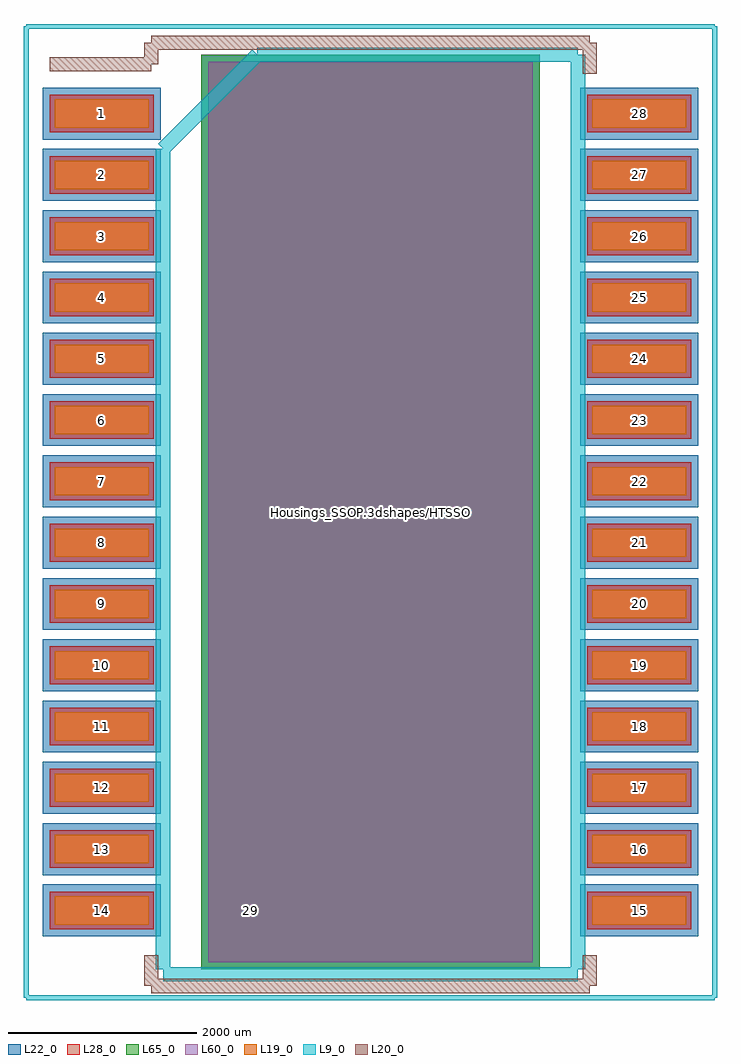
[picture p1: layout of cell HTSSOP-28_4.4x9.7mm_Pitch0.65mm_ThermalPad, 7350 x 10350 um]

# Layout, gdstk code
import gdstk
lib = gdstk.Library(unit=1e-6, precision=1e-09)
def R(c, l, rs):  # rectangles x0, y0, x1, y1
    for r in rs: c.add(gdstk.rectangle(r[:2], r[2:], *l))
def A(c, l, x, y, w, h, nx, ny, dx, dy):  # array of equal rectangles
    R(c, l, [(x+i*dx, y+j*dy, x+i*dx+w, y+j*dy+h) for i in range(nx) for j in range(ny)])
L9_0 = (9, 0)
L19_0 = (19, 0)
L20_0 = (20, 0)
L22_0 = (22, 0)
L28_0 = (28, 0)
L60_0 = (60, 0)
L65_0 = (65, 0)

htssop_28_4_4x9_7mm_pitc = lib.new_cell('HTSSOP-28_4.4x9.7mm_Pitch0.65mm_ThermalPad')
A(htssop_28_4_4x9_7mm_pitc, L19_0, -3350, -4375, 1000, 300, 1, 14, 0, 650)
A(htssop_28_4_4x9_7mm_pitc, L19_0, 2350, -4375, 1000, 300, 1, 14, 0, 650)
A(htssop_28_4_4x9_7mm_pitc, L22_0, -1795, -4850, 1040, 1250, 4, 9, 850, 1056.25)
A(htssop_28_4_4x9_7mm_pitc, L22_0, -3475, -4500, 1250, 550, 1, 14, 0, 650)
A(htssop_28_4_4x9_7mm_pitc, L22_0, 2225, -4500, 1250, 550, 1, 14, 0, 650)
A(htssop_28_4_4x9_7mm_pitc, L28_0, -1720, -4775, 890, 1100, 4, 9, 850, 1056.25)
A(htssop_28_4_4x9_7mm_pitc, L28_0, -3400, -4425, 1100, 400, 1, 14, 0, 650)
A(htssop_28_4_4x9_7mm_pitc, L28_0, 2300, -4425, 1100, 400, 1, 14, 0, 650)
A(htssop_28_4_4x9_7mm_pitc, L60_0, -1720, -4775, 890, 1100, 4, 9, 850, 1056.25)
A(htssop_28_4_4x9_7mm_pitc, L65_0, -1795, -4850, 1040, 1250, 4, 9, 850, 1056.25)
htssop_28_4_4x9_7mm_pitc.add(gdstk.FlexPath([(-2325,4750),(-3400,4750)], 149.998, ends="flush", simple_path=True, layer=20, datatype=0))  # L20_0
htssop_28_4_4x9_7mm_pitc.add(gdstk.FlexPath([(-2325,-5025.8),(2325,-5025.8)], 149.998, ends="flush", simple_path=True, layer=20, datatype=0))  # L20_0
htssop_28_4_4x9_7mm_pitc.add(gdstk.FlexPath([(-2325,4975),(2325,4975)], 149.998, ends="flush", simple_path=True, layer=20, datatype=0))  # L20_0
htssop_28_4_4x9_7mm_pitc.add(gdstk.FlexPath([(-2325,-5025.8),(-2325,-4700.8)], 149.998, ends="flush", simple_path=True, layer=20, datatype=0))  # L20_0
htssop_28_4_4x9_7mm_pitc.add(gdstk.FlexPath([(2325,-5025.8),(2325,-4700.8)], 149.998, ends="flush", simple_path=True, layer=20, datatype=0))  # L20_0
htssop_28_4_4x9_7mm_pitc.add(gdstk.FlexPath([(2325,4975),(2325,4650)], 149.998, ends="flush", simple_path=True, layer=20, datatype=0))  # L20_0
htssop_28_4_4x9_7mm_pitc.add(gdstk.FlexPath([(-2325,4975),(-2325,4750)], 149.998, ends="flush", simple_path=True, layer=20, datatype=0))  # L20_0
htssop_28_4_4x9_7mm_pitc.add(gdstk.FlexPath([(-3650,-5150),(3650,-5150)], 50, ends="flush", simple_path=True, layer=9, datatype=0))  # L9_0
htssop_28_4_4x9_7mm_pitc.add(gdstk.FlexPath([(-3650,5150),(3650,5150)], 50, ends="flush", simple_path=True, layer=9, datatype=0))  # L9_0
htssop_28_4_4x9_7mm_pitc.add(gdstk.FlexPath([(3650,5150),(3650,-5150)], 50, ends="flush", simple_path=True, layer=9, datatype=0))  # L9_0
htssop_28_4_4x9_7mm_pitc.add(gdstk.FlexPath([(-3650,5150),(-3650,-5150)], 50, ends="flush", simple_path=True, layer=9, datatype=0))  # L9_0
htssop_28_4_4x9_7mm_pitc.add(gdstk.FlexPath([(-2200,3850),(-1200,4850)], 149.998, ends="flush", simple_path=True, layer=9, datatype=0))  # L9_0
htssop_28_4_4x9_7mm_pitc.add(gdstk.FlexPath([(-2200,-4850),(-2200,3850)], 149.998, ends="flush", simple_path=True, layer=9, datatype=0))  # L9_0
htssop_28_4_4x9_7mm_pitc.add(gdstk.FlexPath([(2200,-4900.8),(-2200,-4900.8)], 149.998, ends="flush", simple_path=True, layer=9, datatype=0))  # L9_0
htssop_28_4_4x9_7mm_pitc.add(gdstk.FlexPath([(2200,4850),(2200,-4850)], 149.998, ends="flush", simple_path=True, layer=9, datatype=0))  # L9_0
htssop_28_4_4x9_7mm_pitc.add(gdstk.FlexPath([(-1200,4850),(2200,4850)], 149.998, ends="flush", simple_path=True, layer=9, datatype=0))  # L9_0
htssop_28_4_4x9_7mm_pitc.add(gdstk.Label('Housings_SSOP.3dshapes/HTSSOP-28_4.4x9.7mm_Pitch0.65mm_ThermalPad.wrl', (0,0), layer=12, texttype=0))
htssop_28_4_4x9_7mm_pitc.add(gdstk.Label('28', (2850,4225), layer=28, texttype=0))
htssop_28_4_4x9_7mm_pitc.add(gdstk.Label('27', (2850,3575), layer=28, texttype=0))
htssop_28_4_4x9_7mm_pitc.add(gdstk.Label('26', (2850,2925), layer=28, texttype=0))
htssop_28_4_4x9_7mm_pitc.add(gdstk.Label('25', (2850,2275), layer=28, texttype=0))
htssop_28_4_4x9_7mm_pitc.add(gdstk.Label('24', (2850,1625), layer=28, texttype=0))
htssop_28_4_4x9_7mm_pitc.add(gdstk.Label('23', (2850,975), layer=28, texttype=0))
htssop_28_4_4x9_7mm_pitc.add(gdstk.Label('22', (2850,325), layer=28, texttype=0))
htssop_28_4_4x9_7mm_pitc.add(gdstk.Label('21', (2850,-325), layer=28, texttype=0))
htssop_28_4_4x9_7mm_pitc.add(gdstk.Label('20', (2850,-975), layer=28, texttype=0))
htssop_28_4_4x9_7mm_pitc.add(gdstk.Label('19', (2850,-1625), layer=28, texttype=0))
htssop_28_4_4x9_7mm_pitc.add(gdstk.Label('18', (2850,-2275), layer=28, texttype=0))
htssop_28_4_4x9_7mm_pitc.add(gdstk.Label('17', (2850,-2925), layer=28, texttype=0))
htssop_28_4_4x9_7mm_pitc.add(gdstk.Label('16', (2850,-3575), layer=28, texttype=0))
htssop_28_4_4x9_7mm_pitc.add(gdstk.Label('15', (2850,-4225), layer=28, texttype=0))
htssop_28_4_4x9_7mm_pitc.add(gdstk.Label('14', (-2850,-4225), layer=28, texttype=0))
htssop_28_4_4x9_7mm_pitc.add(gdstk.Label('13', (-2850,-3575), layer=28, texttype=0))
htssop_28_4_4x9_7mm_pitc.add(gdstk.Label('12', (-2850,-2925), layer=28, texttype=0))
htssop_28_4_4x9_7mm_pitc.add(gdstk.Label('11', (-2850,-2275), layer=28, texttype=0))
htssop_28_4_4x9_7mm_pitc.add(gdstk.Label('10', (-2850,-1625), layer=28, texttype=0))
htssop_28_4_4x9_7mm_pitc.add(gdstk.Label('9', (-2850,-975), layer=28, texttype=0))
htssop_28_4_4x9_7mm_pitc.add(gdstk.Label('8', (-2850,-325), layer=28, texttype=0))
htssop_28_4_4x9_7mm_pitc.add(gdstk.Label('7', (-2850,325), layer=28, texttype=0))
htssop_28_4_4x9_7mm_pitc.add(gdstk.Label('6', (-2850,975), layer=28, texttype=0))
htssop_28_4_4x9_7mm_pitc.add(gdstk.Label('5', (-2850,1625), layer=28, texttype=0))
htssop_28_4_4x9_7mm_pitc.add(gdstk.Label('4', (-2850,2275), layer=28, texttype=0))
htssop_28_4_4x9_7mm_pitc.add(gdstk.Label('3', (-2850,2925), layer=28, texttype=0))
htssop_28_4_4x9_7mm_pitc.add(gdstk.Label('2', (-2850,3575), layer=28, texttype=0))
htssop_28_4_4x9_7mm_pitc.add(gdstk.Label('1', (-2850,4225), layer=28, texttype=0))
htssop_28_4_4x9_7mm_pitc.add(gdstk.Label('29', (-1275,-4225), layer=28, texttype=0))
htssop_28_4_4x9_7mm_pitc.add(gdstk.Label('type', (0,-5900), layer=9, texttype=0))
htssop_28_4_4x9_7mm_pitc.add(gdstk.Label('devicename', (0,5900), layer=9, texttype=0))

lib.write_gds('HTSSOP-28_4.4x9.7mm_Pitch0.65mm_ThermalPad.gds')
